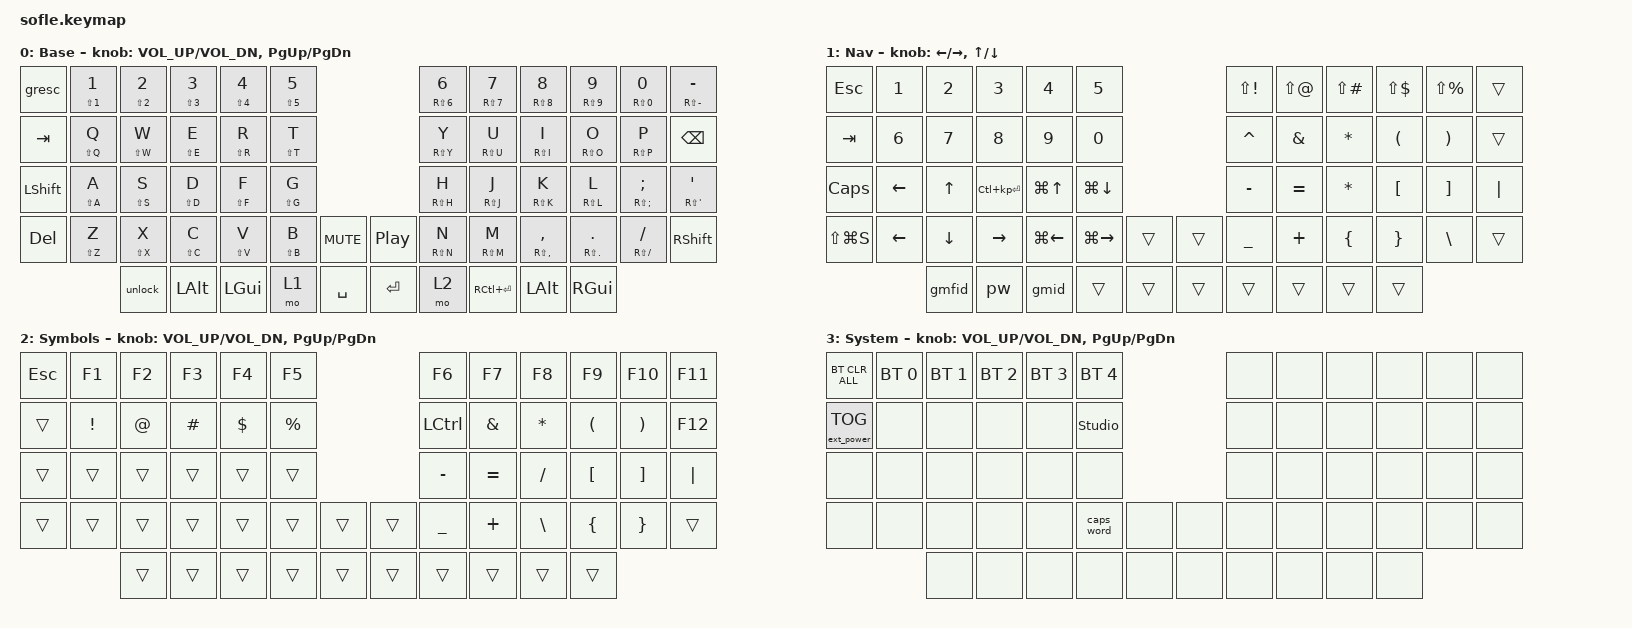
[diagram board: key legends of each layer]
/*
 * Copyright (c) 2020 The ZMK Contributors
 *
 * SPDX-License-Identifier: MIT
 */

#include <behaviors.dtsi>
#include <dt-bindings/zmk/bt.h>
#include <dt-bindings/zmk/ext_power.h>
#include <dt-bindings/zmk/keys.h>

#define BASE 0
#define LOWER 1
#define RAISE 2
#define ADJUST 3

/ {
    // Activate ADJUST layer by pressing raise and lower

    conditional_layers {
        compatible = "zmk,conditional-layers";

        adjust_layer {
            if-layers = <1 2>;
            then-layer = <3>;
        };
    };

    combos {
        compatible = "zmk,combos";

        backspace {
            bindings = <&kp BACKSPACE>;
            key-positions = <32 31>;
        };

        delete {
            bindings = <&kp DELETE>;
            key-positions = <10 11>;
        };

        esc {
            bindings = <&kp ESCAPE>;
            key-positions = <0 1>;
        };
    };

    behaviors {
        caps: caps {
            compatible = "zmk,behavior-caps-word";
            label = "CAPS";
            #binding-cells = <0>;
            continue-list = <POUND MINUS BACKSPACE UNDERSCORE>;
        };

        as: as {
            compatible = "zmk,behavior-hold-tap";
            label = "auto_shift";
            bindings = <&kp>, <&kp>;

            #binding-cells = <2>;
            tapping-term-ms = <200>;
            flavor = "tap-preferred";
            quick-tap-ms = <0>;
        };

        gmid: gmid {
            compatible = "zmk,behavior-tap-dance";
            label = "GMID";
            #binding-cells = <0>;
            bindings = <&GMID1>, <&GMID2>, <&GMIN>;
        };

        gmfid: gmfid {
            compatible = "zmk,behavior-tap-dance";
            label = "GMFID";
            #binding-cells = <0>;
            bindings = <&GMFID1>, <&GMFID2>;
        };

        pw: pw {
            compatible = "zmk,behavior-tap-dance";
            label = "PW";
            #binding-cells = <0>;
            bindings = <&PW1>, <&PW2>;
        };

        unlock: unlock {
            compatible = "zmk,behavior-tap-dance";
            label = "UNLOCK";
            #binding-cells = <0>;
            bindings = <&kp LEFT_CONTROL>, <&kp LC(RA(DEL))>;
        };
    };

    macros {
        GMFID1: GMFID {
            compatible = "zmk,behavior-macro";
            #binding-cells = <0>;
            bindings = <&kp K &kp C &kp H &kp I &kp M &kp N1 &kp TAB>;
            label = "GMFID";
        };

        PW1: PW {
            compatible = "zmk,behavior-macro";
            #binding-cells = <0>;
            bindings = <&kp LS(T) &kp A &kp C &kp O &kp S &kp N1 &kp N8 &kp N9 &kp N4 &kp EXCL &kp AT &kp LS(T) &kp A &kp C &kp O &kp S>;
            label = "PW";
        };

        GMID1: GMID {
            compatible = "zmk,behavior-macro";
            #binding-cells = <0>;
            bindings = <&kp LS(X) &kp LS(Z) &kp LS(Y) &kp LS(L) &kp LS(X) &kp N9>;
            label = "GMID";
        };

        GMID2: GMID2 {
            compatible = "zmk,behavior-macro";
            #binding-cells = <0>;
            bindings = <&kp LS(X) &kp LS(Z) &kp LS(Y) &kp LS(L) &kp LS(X) &kp N9 &kp AT &kp LS(N) &kp LS(A) &kp LS(M) &kp DOT &kp C &kp O &kp R &kp P &kp DOT &kp G &kp M &kp DOT &kp C &kp O &kp M>;
            label = "GMID2";
        };

        GMFID2: GMFID2 {
            compatible = "zmk,behavior-macro";
            #binding-cells = <0>;
            bindings = <&kp K &kp C &kp H &kp I &kp M &kp N1 &kp TAB &kp AT &kp A &kp C &kp F &kp DOT &kp A &kp M &kp E &kp R &kp I &kp C &kp R &kp E &kp D &kp I &kp T &kp DOT &kp C &kp O &kp M>;
            label = "GMFID2";
        };

        PW2: PW2 {
            compatible = "zmk,behavior-macro";
            #binding-cells = <0>;
            bindings = <&kp LS(T) &kp A &kp C &kp O &kp S &kp N1 &kp N8 &kp N9 &kp N4 &kp AT &kp EXCL &kp LS(T) &kp A &kp C &kp O &kp S>;
            label = "PW2";
        };

        GMIN: GMIN {
            compatible = "zmk,behavior-macro";
            #binding-cells = <0>;
            bindings = <&kp N2 &kp N1 &kp N8 &kp N4 &kp N0 &kp N2 &kp N9 &kp N1 &kp N1>;
            label = "GMIN";
        };
    };

    keymap {
        compatible = "zmk,keymap";

        default_layer {
            display-name = "Base";

            // ------------------------------------------------------------------------------------------------------------
            // |   `   |  1  |  2  |  3   |  4   |  5   |                   |  6   |  7    |  8    |  9   |   0   |       |
            // |  ESC  |  Q  |  W  |  E   |  R   |  T   |                   |  Y   |  U    |  I    |  O   |   P   | BKSPC |
            // |  TAB  |  A  |  S  |  D   |  F   |  G   |                   |  H   |  J    |  K    |  L   |   ;   |   '   |
            // | SHIFT |  Z  |  X  |  C   |  V   |  B   |  MUTE  |  |       |  N   |  M    |  ,    |  .   |   /   | SHIFT |
            //               | GUI | ALT  | CTRL | LOWER|  ENTER |  | SPACE | RAISE| CTRL  | ALT   | GUI  |

            bindings = <
&gresc          &as LS(N1) N1  &as LS(N2) N2  &as LS(N3) N3  &as LS(N4) N4  &as LS(N5) N5                                  &as RS(N6) N6  &as RS(N7) N7  &as RS(N8) N8        &as RS(N9) N9       &as RS(N0) N0       &as RS(MINUS) MINUS
&kp TAB         &as LS(Q) Q    &as LS(W) W    &as LS(E) E    &as LS(R) R    &as LS(T) T                                    &as RS(Y) Y    &as RS(U) U    &as RS(I) I          &as RS(O) O         &as RS(P) P         &kp BSPC
&kp LEFT_SHIFT  &as LS(A) A    &as LS(S) S    &as LS(D) D    &as LS(F) F    &as LS(G) G                                    &as RS(H) H    &as RS(J) J    &as RS(K) K          &as RS(L) L         &as RS(SEMI) SEMI   &as RS(SQT) SQT
&kp DEL         &as LS(Z) Z    &as LS(X) X    &as LS(C) C    &as LS(V) V    &as LS(B) B    &kp C_MUTE    &kp C_PLAY_PAUSE  &as RS(N) N    &as RS(M) M    &as RS(COMMA) COMMA  &as RS(DOT) PERIOD  &as RS(FSLH) SLASH  &kp RSHFT
                               &unlock        &kp LALT       &kp LGUI       &mo 1          &kp SPACE     &kp ENTER         &mo 2          &kp RC(ENTER)  &kp LALT             &kp RGUI
            >;

            sensor-bindings = <&inc_dec_kp C_VOL_UP C_VOL_DN &inc_dec_kp PG_UP PG_DN>;
        };

        lower_layer {
            display-name = "Nav";

            // TODO: Some binds are waiting for shifted keycode support.
            // ------------------------------------------------------------------------------------------------------------
            // |       |  F1 |  F2 |  F3  |  F4  |  F5  |                   |  F6  |  F7   |  F8   |  F9  |  F10  |  F11  |
            // |   `   |  1  |  2  |  3   |  4   |  5   |                   |  6   |  7    |  8    |  9   |   0   |  F12  |
            // |       |  !  |  @  |  #   |  $   |  %   |                   |  ^   |  &    |  *    |  (   |   )   |   |   |
            // |       |  =  |  -  |  +   |  {   |  }   |        |  |       |  [   |  ]    |  ;    |  :   |   \   |       |
            //               |     |      |      |      |        |  |       |      |       |       |      |

            bindings = <
&kp ESC        &kp N1    &kp N2    &kp N3            &kp N4        &kp N5                           &kp LS(EXCL)    &kp LS(AT)     &kp LS(POUND)   &kp LS(DLLR)          &kp LS(PRCNT)          &trans
&kp TAB        &kp N6    &kp N7    &kp N8            &kp N9        &kp N0                           &kp CARET       &kp AMPERSAND  &kp ASTRK       &kp LEFT_PARENTHESIS  &kp RIGHT_PARENTHESIS  &trans
&kp CAPS       &kp LEFT  &kp UP    &kp LC(KP_ENTER)  &kp LG(UP)    &kp LG(DOWN)                     &kp MINUS       &kp EQUAL      &kp ASTRK       &kp LEFT_BRACKET      &kp RIGHT_BRACKET      &kp PIPE
&kp LS(LG(S))  &kp LEFT  &kp DOWN  &kp RIGHT         &kp LG(LEFT)  &kp LG(RIGHT)  &trans    &trans  &kp UNDERSCORE  &kp PLUS       &kp LEFT_BRACE  &kp RIGHT_BRACE       &kp BACKSLASH          &trans
                         &gmfid    &pw               &gmid         &trans         &trans    &trans  &trans          &trans         &trans          &trans
            >;

            sensor-bindings =
                <&inc_dec_kp LEFT_ARROW RIGHT_ARROW>,
                <&inc_dec_kp UP_ARROW DOWN_ARROW>;
        };

        raise_layer {
            display-name = "Symbols";

            // ------------------------------------------------------------------------------------------------------------
            // | BTCLR | BT1  | BT2  |  BT3  |  BT4  |  BT5 |                |      |      |       |      |       |       |
            // |       | INS  | PSCR | GUI   |       |      |                | PGUP |      |   ^   |      |       |       |
            // |       | ALT  | CTRL | SHIFT |       | CAPS |                | PGDN |   <- |   v   |  ->  |  DEL  | BKSPC |
            // |       | UNDO | CUT  | COPY  | PASTE |      |      |  |      |      |      |       |      |       |       |
            //                |      |       |       |      |      |  |      |      |      |       |      |

            bindings = <
&kp ESC  &kp F1           &kp F2       &kp F3    &kp F4      &kp F5                         &kp F6          &kp F7         &kp F8         &kp F9                &kp F10                &kp F11
&trans   &kp EXCLAMATION  &kp AT_SIGN  &kp HASH  &kp DOLLAR  &kp PERCENT                    &kp LCTRL       &kp AMPERSAND  &kp ASTERISK   &kp LEFT_PARENTHESIS  &kp RIGHT_PARENTHESIS  &kp F12
&trans   &trans           &trans       &trans    &trans      &trans                         &kp MINUS       &kp EQUAL      &kp SLASH      &kp LEFT_BRACKET      &kp RIGHT_BRACKET      &kp PIPE
&trans   &trans           &trans       &trans    &trans      &trans       &trans    &trans  &kp UNDERSCORE  &kp PLUS       &kp BACKSLASH  &kp LEFT_BRACE        &kp RIGHT_BRACE        &trans
                          &trans       &trans    &trans      &trans       &trans    &trans  &trans          &trans         &trans         &trans
            >;

            sensor-bindings = <&inc_dec_kp C_VOL_UP C_VOL_DN &inc_dec_kp PG_UP PG_DN>;
        };

        adjust_layer {
            // ----------------------------------------------------------------------------------------------------------------------------
            // | BTCLR  |  BT1    |  BT2    |   BT3   |   BT4   |   BT5   |                  |      |      |       |      |       |       |
            // | EXTPWR | RGB_HUD | RGB_HUI | RGB_SAD | RGB_SAI | RGB_EFF |                  |      |      |       |      |       |       |
            // |        | RGB_BRD | RGB_BRI |         |         |         |                  |      |      |       |      |       |       |
            // |        |         |         |         |         |         | RGB_TOG | |      |      |      |       |      |       |       |
            //                    |         |         |         |         |         | |      |      |      |       |      |

            display-name = "System";
            bindings = <
&bt BT_CLR_ALL     &bt BT_SEL 0  &bt BT_SEL 1  &bt BT_SEL 2  &bt BT_SEL 3  &bt BT_SEL 4                    &none  &none  &none  &none  &none  &none
&ext_power EP_TOG  &none         &none         &none         &none         &studio_unlock                  &none  &none  &none  &none  &none  &none
&none              &none         &none         &none         &none         &none                           &none  &none  &none  &none  &none  &none
&none              &none         &none         &none         &none         &caps_word      &none    &none  &none  &none  &none  &none  &none  &none
                                 &none         &none         &none         &none           &none    &none  &none  &none  &none  &none
            >;

            sensor-bindings = <&inc_dec_kp C_VOL_UP C_VOL_DN &inc_dec_kp PG_UP PG_DN>;
        };
    };
};
